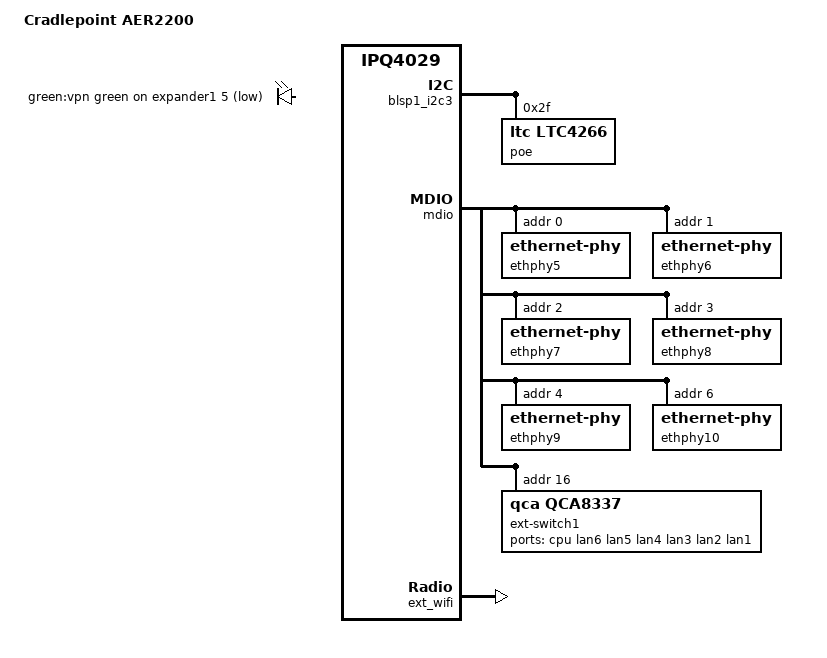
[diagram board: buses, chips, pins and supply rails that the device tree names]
// SPDX-License-Identifier: GPL-2.0-or-later
/* Copyright (c) 2025, Natalie Moore <natalie@natalielucy.dev> */

#include "qcom-ipq4029-brulk-common.dtsi"
#include <dt-bindings/leds/common.h>

/ {
	/* Codename Bruce */
	model = "Cradlepoint AER2200";
	compatible = "cradlepoint,aer2200";

	soc {
		ess_tcsr@1953000 {
			compatible = "qcom,tcsr";
			reg = <0x1953000 0x1000>;
			// ???
			qcom,ess-interface-select = <TCSR_ESS_PSGMII_RGMII5>;
		};
	};

	leds {
		led_vpn_green: led-12 {
			function = LED_FUNCTION_STATUS;
			color = <LED_COLOR_ID_GREEN>;
			gpios = <&expander1 5 GPIO_ACTIVE_LOW>;
			label = "green:vpn";
		};
	};
};

&blsp1_i2c3 {
	poe: ltc4266@2f {
		compatible = "ltc,ltc4266";
		reg = <0x2f>;
		status = "ok";
	};
};

&mdio {
	ethphy5: ethernet-phy@5 {
		/* uplink? */
		reg = <0x00>;
	};

	ethphy6: ethernet-phy@6 {
		reg = <0x01>;
	};

	ethphy7: ethernet-phy@7 {
		reg = <0x02>;
	};

	ethphy8: ethernet-phy@8 {
		reg = <0x03>;
	};

	ethphy9: ethernet-phy@9 {
		reg = <0x04>;
	};

	ethphy10: ethernet-phy@a {
		/* external PHY */
		reg = <0x06>;
	};

	ext-switch1@10 {
		compatible = "qca,qca8337";
		dsa,member = <1 0>;
		reg = <0x10>;
		switch_cpu_bmp = <0x00>;
		switch_lan_bmp = <0x3e>;
		switch_wan_bmp = <0x00>;
		qca,ar8327-initvals = <0x00 0x00 0x10 0x261320>;


		ports {
			#address-cells = <1>;
			#size-cells = <0>;

			sw1port0: port@0 {
				reg = <0x00>;
				label = "cpu";
			};

			sw1port1: port@1 {
				reg = <0x01>;
				label = "lan6";
				phy-handle = <&swport5>;
			};

			sw1port2: port@2 {
				reg = <0x02>;
				label = "lan5";
				phy-handle = <&ethphy6>;
			};

			sw1port3: port@3 {
				reg = <0x03>;
				label = "lan4";
				phy-handle = <&ethphy7>;
			};

			sw1port4: port@4 {
				reg = <0x04>;
				label = "lan3";
				phy-handle = <&ethphy8>;
			};

			sw1port5: port@5 {
				reg = <0x05>;
				label = "lan2";
				phy-handle = <&ethphy9>;
			};

			sw1port6: port@6 {
				reg = <0x06>;
				label = "lan1";
				phy-handle = <&ethphy10>;
				phy-mode = "rgmii";
			};
		};
	};
};

&switch {
	dsa,member = <0 0>;
};

&swport2 {
	label = "lan9";
};

&swport3 {
	label = "lan8";
};

&swport4 {
	label = "lan7";
};

&swport5 {
	label = "unsure";
};

&ext_wifi {
    status = "okay";
};

&wifi1 {
	status = "disabled";
};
